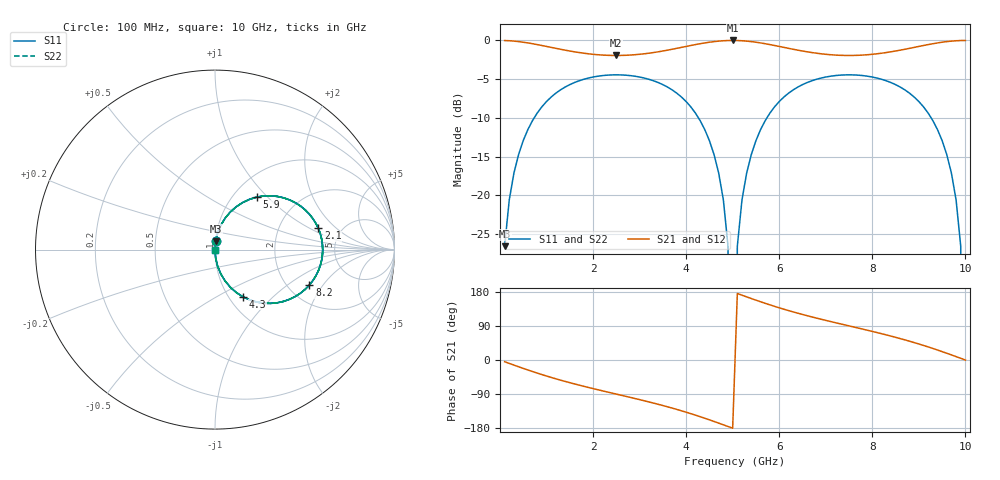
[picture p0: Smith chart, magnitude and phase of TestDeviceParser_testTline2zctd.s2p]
# MHz MA S R 50.0
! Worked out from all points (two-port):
!   100 points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, 100 MHz to 10 GHz, reference 50 ohm
!   highest |S21| = 0.00 dB at 5 GHz (marker M1); lowest = -1.9 dB at 2.5 GHz (marker M2)
!   |S21| within 3 dB of the highest: start of sweep to end of sweep
!   lowest |S11| = -26.6 dB at 100 MHz (marker M3), VSWR 1.10, Z = 50.1 + j4.71 ohm
!   |S11| at or under -10 dB: start of sweep to 735 MHz; 4.265 GHz to 5.735 GHz (1.47 GHz wide, 29.4 % of centre); 9.265 GHz to end of sweep
!   |S22| runs from - to -4.4 dB; largest |S21 - S12| = 0
!   S11 on the Smith chart (normalised r, x): 100 MHz: 1.00, +0.09; 2.1 GHz: 3.37, +1.22; 4.3 GHz: 1.16, -0.67; 5.9 GHz: 1.27, +0.86; 8.2 GHz: 2.59, -1.50; 10 GHz: 1.00, +0.00
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100  0.04704 85.5  0.9989 -4.5  0.9989 -4.5  0.04704 85.5
300  0.1392 76.6  0.9903 -13.4  0.9903 -13.4  0.1392 76.6
600  0.2661 63.7  0.9639 -26.3  0.9639 -26.3  0.2661 63.7
1800  0.5615 20.6  0.8275 -69.4  0.8275 -69.4  0.5615 20.6
2100  0.5877 11.6  0.8091 -78.4  0.8091 -78.4  0.5877 11.6
2500  0.6 0.0  0.8 -90.0  0.8 -90.0  0.6 0.0
3400  0.535 -26.9  0.8449 -116.9  0.8449 -116.9  0.535 -26.9
4300  0.3042 -59.5  0.9526 -149.5  0.9526 -149.5  0.3042 -59.5
4700  0.1392 -76.6  0.9903 -166.6  0.9903 -166.6  0.1392 -76.6
4900  0.04704 -85.5  0.9989 -175.5  0.9989 -175.5  0.04704 -85.5
5000  0 -90.0  1 -180.0  1 -180.0  0 -90.0
5100  0.04704 85.5  0.9989 175.5  0.9989 175.5  0.04704 85.5
5200  0.09359 81.0  0.9956 171.0  0.9956 171.0  0.09359 81.0
5400  0.1834 72.2  0.983 162.2  0.983 162.2  0.1834 72.2
5900  0.3729 51.6  0.9279 141.6  0.9279 141.6  0.3729 51.6
6700  0.5492 23.7  0.8357 113.7  0.8357 113.7  0.5492 23.7
8200  0.5615 -20.6  0.8275 69.4  0.8275 69.4  0.5615 -20.6
8400  0.535 -26.9  0.8449 63.1  0.8449 63.1  0.535 -26.9
9300  0.3042 -59.5  0.9526 30.5  0.9526 30.5  0.3042 -59.5
9800  0.09359 -81.0  0.9956 9.0  0.9956 9.0  0.09359 -81.0
9900  0.04704 -85.5  0.9989 4.5  0.9989 4.5  0.04704 -85.5
10000  0 -90.0  1 0.0  1 0.0  0 -90.0
